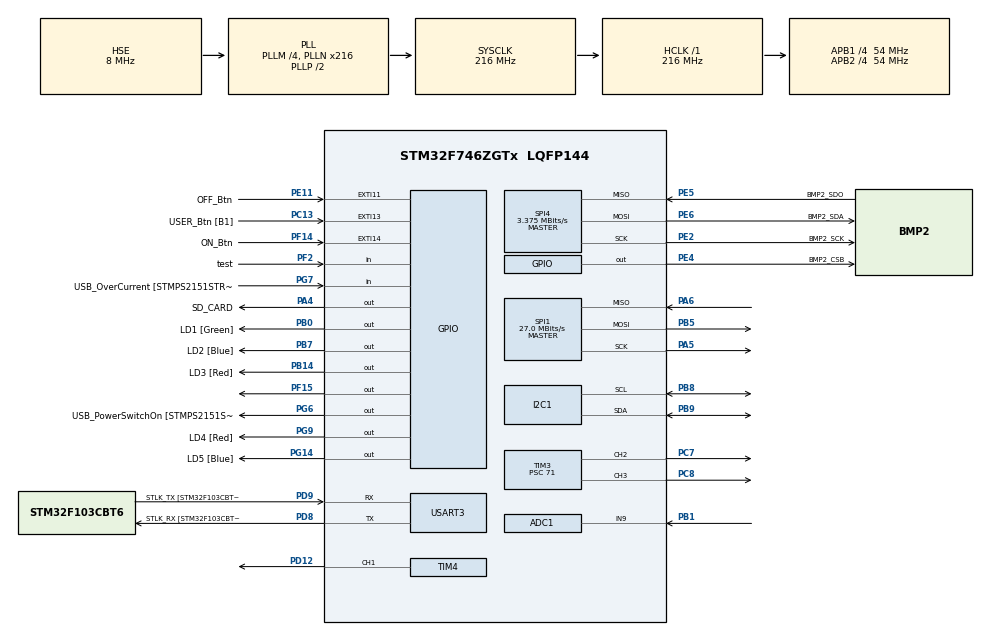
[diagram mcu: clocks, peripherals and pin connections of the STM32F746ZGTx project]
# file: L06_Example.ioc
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ADC1.Channel-0\#ChannelRegularConversion=ADC_CHANNEL_9
ADC1.ContinuousConvMode=DISABLE
ADC1.NbrOfConversionFlag=1
ADC1.Rank-0\#ChannelRegularConversion=1
ADC1.SamplingTime-0\#ChannelRegularConversion=ADC_SAMPLETIME_3CYCLES
ADC1.master=1
Dma.ADC1.0.Direction=DMA_PERIPH_TO_MEMORY
Dma.ADC1.0.FIFOMode=DMA_FIFOMODE_DISABLE
Dma.ADC1.0.Instance=DMA2_Stream0
Dma.ADC1.0.MemDataAlignment=DMA_MDATAALIGN_HALFWORD
Dma.ADC1.0.MemInc=DMA_MINC_ENABLE
Dma.ADC1.0.Mode=DMA_CIRCULAR
Dma.ADC1.0.PeriphDataAlignment=DMA_PDATAALIGN_HALFWORD
Dma.ADC1.0.PeriphInc=DMA_PINC_DISABLE
Dma.ADC1.0.Priority=DMA_PRIORITY_LOW
Dma.Request0=ADC1
FATFS._MAX_SS=4096
FATFS._USE_LFN=1
I2C1.Timing=0x20404768
Mcu.Family=STM32F7
Mcu.Name=STM32F746ZGTx
Mcu.Package=LQFP144
NVIC.ADC_IRQn=true\:0\:0\:false\:false\:true\:true\:true\:true
NVIC.DMA2_Stream0_IRQn=true\:0\:0\:false\:false\:true\:false\:true\:true
NVIC.PriorityGroup=NVIC_PRIORITYGROUP_4
NVIC.TIM2_IRQn=true\:0\:0\:false\:false\:true\:true\:true\:true
NVIC.TIM3_IRQn=true\:0\:0\:false\:false\:true\:true\:true\:true
NVIC.TIM4_IRQn=true\:0\:0\:false\:false\:true\:true\:true\:true
NVIC.TIM7_IRQn=true\:0\:0\:false\:false\:true\:true\:true\:true
NVIC.USART3_IRQn=true\:0\:0\:false\:false\:true\:true\:true\:true
PA1.GPIO_Label=RMII_REF_CLK [LAN8742A-CZ-TR_REFCLK0]
PA1.Signal=ETH_REF_CLK
PA10.GPIO_Label=USB_ID
PA10.Signal=USB_OTG_FS_ID
PA11.GPIO_Label=USB_DM
PA11.Signal=USB_OTG_FS_DM
PA12.GPIO_Label=USB_DP
PA12.Signal=USB_OTG_FS_DP
PA13.GPIO_Label=TMS
PA13.Mode=Serial_Wire
PA13.Signal=SYS_JTMS-SWDIO
PA14.GPIO_Label=TCK
PA14.Mode=Serial_Wire
PA14.Signal=SYS_JTCK-SWCLK
PA2.GPIO_Label=RMII_MDIO [LAN8742A-CZ-TR_MDIO]
PA2.Signal=ETH_MDIO
PA4.GPIO_Label=SD_CARD
PA4.GPIO_Speed=GPIO_SPEED_FREQ_MEDIUM
PA4.PinState=GPIO_PIN_SET
PA4.Signal=GPIO_Output
PA5.Mode=Full_Duplex_Master
PA5.Signal=SPI1_SCK
PA6.Mode=Full_Duplex_Master
PA6.Signal=SPI1_MISO
PA7.GPIO_Label=RMII_CRS_DV [LAN8742A-CZ-TR_CRS_DV]
PA7.Signal=ETH_CRS_DV
PA8.GPIO_Label=USB_SOF [TP1]
PA8.Signal=USB_OTG_FS_SOF
PA9.GPIO_Label=USB_VBUS
PA9.Signal=USB_OTG_FS_VBUS
PB0.GPIO_Label=LD1 [Green]
PB0.Signal=GPIO_Output
PB1.Signal=ADCx_IN9
PB13.GPIO_Label=RMII_TXD1 [LAN8742A-CZ-TR_TXD1]
PB13.Signal=ETH_TXD1
PB14.GPIO_Label=LD3 [Red]
PB14.Signal=GPIO_Output
PB3.GPIO_Label=SW0
PB3.Signal=SYS_JTDO-SWO
PB5.Mode=Full_Duplex_Master
PB5.Signal=SPI1_MOSI
PB7.GPIO_Label=LD2 [Blue]
PB7.Signal=GPIO_Output
PB8.Mode=I2C
PB8.Signal=I2C1_SCL
PB9.Mode=I2C
PB9.Signal=I2C1_SDA
PC1.GPIO_Label=RMII_MDC [LAN8742A-CZ-TR_MDC]
PC1.Signal=ETH_MDC
PC13.GPIO_Label=USER_Btn [B1]
PC13.Signal=GPXTI13
PC14/OSC32_IN.Mode=LSE-External-Oscillator
PC14/OSC32_IN.Signal=RCC_OSC32_IN
PC15/OSC32_OUT.Mode=LSE-External-Oscillator
PC15/OSC32_OUT.Signal=RCC_OSC32_OUT
PC4.GPIO_Label=RMII_RXD0 [LAN8742A-CZ-TR_RXD0]
PC4.Signal=ETH_RXD0
PC5.GPIO_Label=RMII_RXD1 [LAN8742A-CZ-TR_RXD1]
PC5.Signal=ETH_RXD1
PC7.Signal=S_TIM3_CH2
PC8.Signal=S_TIM3_CH3
PD12.Signal=S_TIM4_CH1
PD8.GPIO_Label=STLK_RX [STM32F103CBT6_PA3]
PD8.GPIO_PuPd=GPIO_PULLUP
PD8.Mode=Asynchronous
PD8.Signal=USART3_TX
PD9.GPIO_Label=STLK_TX [STM32F103CBT6_PA2]
PD9.GPIO_PuPd=GPIO_PULLUP
PD9.Mode=Asynchronous
PD9.Signal=USART3_RX
PE11.GPIO_Label=OFF_Btn
PE11.GPIO_PuPd=GPIO_PULLDOWN
PE11.Signal=GPXTI11
PE2.GPIO_Label=BMP2_SCK
PE2.Mode=Full_Duplex_Master
PE2.Signal=SPI4_SCK
PE4.GPIO_Label=BMP2_CSB
PE4.GPIO_Speed=GPIO_SPEED_FREQ_VERY_HIGH
PE4.Signal=GPIO_Output
PE5.GPIO_Label=BMP2_SDO
PE5.Mode=Full_Duplex_Master
PE5.Signal=SPI4_MISO
PE6.GPIO_Label=BMP2_SDA
PE6.Mode=Full_Duplex_Master
PE6.Signal=SPI4_MOSI
PF14.GPIO_Label=ON_Btn
PF14.GPIO_ModeDefaultEXTI=GPIO_MODE_IT_FALLING
PF14.GPIO_PuPd=GPIO_PULLUP
PF14.Signal=GPXTI14
PF15.Signal=GPIO_Output
PF2.GPIO_Label=test
PF2.Signal=GPIO_Input
PG11.GPIO_Label=RMII_TX_EN [LAN8742A-CZ-TR_TXEN]
PG11.Signal=ETH_TX_EN
PG13.GPIO_Label=RMII_TXD0 [LAN8742A-CZ-TR_TXD0]
PG13.Signal=ETH_TXD0
PG14.GPIO_Label=LD5 [Blue]
PG14.Signal=GPIO_Output
PG6.GPIO_Label=USB_PowerSwitchOn [STMPS2151STR_EN]
PG6.Signal=GPIO_Output
PG7.GPIO_Label=USB_OverCurrent [STMPS2151STR_FAULT]
PG7.Signal=GPIO_Input
PG9.GPIO_Label=LD4 [Red]
PG9.Signal=GPIO_Output
PH0/OSC_IN.GPIO_Label=MCO [STM32F103CBT6_PA8]
PH0/OSC_IN.Mode=HSE-External-Clock-Source
PH0/OSC_IN.Signal=RCC_OSC_IN
PH1/OSC_OUT.Mode=HSE-External-Clock-Source
PH1/OSC_OUT.Signal=RCC_OSC_OUT
ProjectManager.HeapSize=0x200
ProjectManager.StackSize=0x400
ProjectManager.TargetToolchain=STM32CubeIDE
RCC.48MHZClocksFreq_Value=24000000
RCC.AHBFreq_Value=216000000
RCC.APB1CLKDivider=RCC_HCLK_DIV4
RCC.APB1Freq_Value=54000000
RCC.APB1TimFreq_Value=108000000
RCC.APB2CLKDivider=RCC_HCLK_DIV4
RCC.APB2Freq_Value=54000000
RCC.APB2TimFreq_Value=108000000
RCC.CortexFreq_Value=216000000
RCC.HCLKFreq_Value=216000000
RCC.HSE_VALUE=8000000
RCC.HSI_VALUE=16000000
RCC.PLLM=4
RCC.PLLMUL=RCC_PLL_MUL9
RCC.PLLN=216
RCC.PLLQ=3
RCC.PLLSourceVirtual=RCC_PLLSOURCE_HSE
RCC.PRESCALERUSB=RCC_USBCLKSOURCE_PLL_DIV1_5
RCC.SYSCLKFreq_VALUE=216000000
RCC.SYSCLKSource=RCC_SYSCLKSOURCE_PLLCLK
RCC.SYSCLKSourceVirtual=RCC_SYSCLKSOURCE_PLLCLK
RCC.USBFreq_Value=144000000
RCC.VCOOutputFreq_Value=432000000
SH.ADCx_IN9.0=ADC1_IN9,IN9
SH.S_TIM3_CH2.0=TIM3_CH2,PWM Generation2 CH2
SH.S_TIM3_CH3.0=TIM3_CH3,PWM Generation3 CH3
SH.S_TIM4_CH1.0=TIM4_CH1,PWM Generation1 CH1
SPI1.CalculateBaudRate=27.0 MBits/s
SPI1.DataSize=SPI_DATASIZE_8BIT
SPI1.Direction=SPI_DIRECTION_2LINES
SPI1.Mode=SPI_MODE_MASTER
SPI1.VirtualType=VM_MASTER
SPI4.BaudRatePrescaler=SPI_BAUDRATEPRESCALER_16
SPI4.CLKPhase=SPI_PHASE_2EDGE
SPI4.CLKPolarity=SPI_POLARITY_HIGH
SPI4.CalculateBaudRate=3.375 MBits/s
SPI4.DataSize=SPI_DATASIZE_8BIT
SPI4.Direction=SPI_DIRECTION_2LINES
SPI4.Mode=SPI_MODE_MASTER
SPI4.VirtualType=VM_MASTER
TIM2.Period=24999
TIM2.Prescaler=1079
TIM3.Channel-PWM\ Generation2\ CH2=TIM_CHANNEL_2
TIM3.Channel-PWM\ Generation3\ CH3=TIM_CHANNEL_3
TIM3.Period=999
TIM3.Prescaler=71
TIM3.Pulse-PWM\ Generation3\ CH3=500
TIM4.Channel-PWM\ Generation1\ CH1=TIM_CHANNEL_1
TIM4.Period=999
TIM4.Prescaler=107
TIM7.Period=9999
TIM7.Prescaler=10799
USART3.VirtualMode-Asynchronous=VM_ASYNC
VP_FATFS_VS_Generic.Mode=User_defined
VP_TIM2_VS_ClockSourceINT.Mode=Internal
VP_TIM3_VS_ClockSourceINT.Mode=Internal
VP_TIM4_VS_ClockSourceINT.Mode=Internal
VP_TIM7_VS_ClockSourceINT.Mode=Enable_Timer
board=NUCLEO-F746ZG

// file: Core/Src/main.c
/* USER CODE BEGIN Header */
/**
  ******************************************************************************
  * @file           : main.c
  * @brief          : Main program body
  ******************************************************************************
  * @attention
  *
  * Copyright (c) 2023 STMicroelectronics.
  * All rights reserved.
  *
  * This software is licensed under terms that can be found in the LICENSE file
  * in the root directory of this software component.
  * If no LICENSE file comes with this software, it is provided AS-IS.
  *
  ******************************************************************************
  */
/* USER CODE END Header */
#include "main.h"
#include "adc.h"
#include "dma.h"
#include "fatfs.h"
#include "i2c.h"
#include "spi.h"
#include "tim.h"
#include "usart.h"
#include "gpio.h"

/* USER CODE BEGIN Includes */
#include <stdio.h>
#include "bmp2_config.h"
#include "pid_regulator.h"
#include "lcd_i2c.h"
#include <stdbool.h>
#include "fatfs_sd.h"
#include <string.h>

/* USER CODE END Includes */

/* USER CODE BEGIN PTD */
//float duty=0;

/* USER CODE END PTD */

/* USER CODE BEGIN PD */

//odczyt z karty microsd
FATFS fs;
FATFS *pfs;
FIL fil;
FRESULT fres;
DWORD fre_clust;
uint32_t totalSpace, freeSpace;
char bufffer[100];
int time_counter=-1;

/* USER CODE END PD */

/* USER CODE BEGIN PV */
double temp = 0.0f;     // [degC]
unsigned int temp_int;	// [mdegC]
double press = 0.0f;    // [hPa]
unsigned int press_int; // [Pa]
char word[]="000";
unsigned int zadane=0;
unsigned int zadane_rezystora=0;
unsigned int zadane_wiatraka=0;
float current_temp=0;
float fanControlTest=-1.0;  //tymczasowa zmienna pomocnicza do weryfikacji poprawnosci dzialania PID
float fanControlTestDriven=-1.0;
unsigned int zadane_obiektu = 27000;
unsigned int powitanie = 1;
uint16_t readValue_potencjometr=0;
// wyświetlacz
struct lcd_disp disp;
unsigned int test = 0;
volatile uint8_t sd_card_operation_flag = 0;
int value;
/* USER CODE END PV */

void SystemClock_Config(void);

/* USER CODE BEGIN 0 */
/**
  * @brief  Period elapsed callback in non-blocking mode
  * @param  htim TIM handle
  * @retval None
  */
pid_t2 pid1={.param.Kp=1.2,.param.Ki=0.002, .param.Kd=0,.param.dt=1.0, .previous_error=0, .previous_integral=0};
void HAL_TIM_PeriodElapsedCallback(TIM_HandleTypeDef *htim)
{
	static unsigned int cnt = 0;
	    if(htim == &htim2)
	    {
	        cnt++;
	        BMP2_ReadData(&bmp2dev, NULL, &temp); //odczyt temperatury z czujnika

	        temp_int = 1000*temp;

	        if(cnt == 4)
	        {
	            cnt = 0;
	            uint8_t tx_buffer[128];
	            int tx_msg_len = sprintf((char*)tx_buffer, "%d\r\n",
	                                     temp_int / 1000);

	            HAL_UART_Transmit(&huart3, tx_buffer, tx_msg_len, HAL_MAX_DELAY);

	            sd_card_operation_flag = 1;
	        }
  }
  //pid
  if(htim == &htim7){

  		 current_temp = temp_int;
  	}else{
  		float pwm_duty_f= (999.0*calculate_discrete_pid(&pid1,zadane_obiektu,current_temp));
  		fanControlTest=pwm_duty_f;
  		uint16_t pwm_duty=0;
  		//saturacja
  		if(pwm_duty_f<0)pwm_duty=0;else
  		if(pwm_duty_f>999.0)pwm_duty=999;else
  			pwm_duty=(uint16_t)pwm_duty_f;
  		fanControlTestDriven = pwm_duty;

  		if(temp_int -600 > zadane_obiektu) __HAL_TIM_SET_COMPARE(&htim3,TIM_CHANNEL_2, 700);
  		if(temp_int -200 < zadane_obiektu)__HAL_TIM_SET_COMPARE(&htim3,TIM_CHANNEL_2, 0);

  		__HAL_TIM_SET_COMPARE(&htim3,TIM_CHANNEL_3,pwm_duty);

  	}
}

void wypelnienie1(uint16_t duty)
{
	duty = duty*10;
	zadane_rezystora=duty;
	//__HAL_TIM_SET_COMPARE(&htim3, TIM_CHANNEL_3, duty);
}

void wypelnienie2(uint16_t duty)
{
	duty = duty*10;
	zadane_wiatraka=duty;
	//__HAL_TIM_SET_COMPARE(&htim3, TIM_CHANNEL_2, duty);
}

void HAL_UART_RxCpltCallback(UART_HandleTypeDef *huart) {
	uint8_t fill=0;

	if(word[0] == 'r')
	{
		fill = ((word[1] - '0') * 10 + (word[2] - '0'));
		wypelnienie1(fill);
	}

	if(word[0] == 'w')
	{
		fill = ((word[1] - '0') * 10 + (word[2] - '0'));
		wypelnienie2(fill);
	}
	HAL_UART_Receive_IT(&huart3, word, 3);
}

void display_function()
{
	if(powitanie)
	{
		sprintf((char*)disp.f_line, "Dzie%c dobry %c", '\x4', '\x5');
		sprintf((char*)disp.s_line, "smacznej kawusi");
		lcd_display(&disp);
		HAL_Delay(1000);
		powitanie = 0;
	}
	else
	{
		sprintf((char*)disp.f_line, "T. akt.:%d.%02d%cC", temp_int / 1000, temp_int % 1000, '\x7');
		sprintf((char*)disp.s_line, "T. zad.:%d.%02d%cC", zadane_obiektu / 1000, zadane_obiektu % 1000, '\x8');
		lcd_display(&disp);
	}

	HAL_Delay(2000);

}

/* USER CODE END 0 */

int main(void)
{

  /* MCU Configuration--------------------------------------------------------*/

  /* Reset of all peripherals, Initializes the Flash interface and the Systick. */
  HAL_Init();

  /* Configure the system clock */
  SystemClock_Config();

  /* Initialize all configured peripherals */
  MX_GPIO_Init();
  MX_DMA_Init();
  MX_SPI4_Init();
  MX_TIM2_Init();
  MX_TIM4_Init();
  MX_TIM3_Init();
  MX_TIM7_Init();
  MX_I2C1_Init();
  MX_USART3_UART_Init();
  MX_ADC1_Init();
  MX_SPI1_Init();
  MX_FATFS_Init();
  /* USER CODE BEGIN 2 */
  BMP2_Init(&bmp2dev);// inicjalizacja czujnika
  HAL_TIM_Base_Start_IT(&htim2);// uruchomienie timerow
  HAL_TIM_Base_Start_IT(&htim7);// uruchomienie timerow
  HAL_TIM_PWM_Start(&htim3, TIM_CHANNEL_3);
  HAL_TIM_PWM_Start(&htim3, TIM_CHANNEL_2);
  __HAL_TIM_SET_COMPARE(&htim3, TIM_CHANNEL_3, 0);
  __HAL_TIM_SET_COMPARE(&htim3, TIM_CHANNEL_2, 0);
  HAL_UART_Receive_IT(&huart3, word, 3);
//wyswietlacz
  disp.addr = (0x27 << 1);
  disp.bl = true;
  lcd_init(&disp);
  lcd_prog(&disp);
  //potencjometr
  //HAL_ADC_Start(&hadc1);
  /* USER CODE END 2 */

  /* Infinite loop */
  /* USER CODE BEGIN WHILE */
  while (1)
  {
	  HAL_ADC_Start(&hadc1);
	  display_function();
	  HAL_ADC_PollForConversion(&hadc1, 1000);
	  readValue_potencjometr = HAL_ADC_GetValue(&hadc1);
	  zadane_obiektu = readValue_potencjometr*5.36 +18000.0;
    /* USER CODE END WHILE */

    /* USER CODE BEGIN 3 */

	  if (sd_card_operation_flag) {
	         sd_card_operation_flag = 0; // Zeruj flagę
	         time_counter++; //czas probki

	         if (f_mount(&fs, "", 0) == FR_OK) {
	             if (f_open(&fil, "log-file.csv", FA_OPEN_APPEND | FA_WRITE) == FR_OK) { //dziala na istniejacym pliku
//	        	 if (f_open(&fil, "log-file.csv", FA_WRITE | FA_CREATE_ALWAYS) == FR_OK) { //czysci plik przed zadzialaniem
	                 char log_buffer[128];
	                 int log_length = sprintf(log_buffer, "%d,Temperature:,%u.%03u,DegC\r\n",
	                                          time_counter, temp_int / 1000, temp_int % 1000);

	                 UINT bytes_written;
	                 FRESULT write_result = f_write(&fil, log_buffer, log_length, &bytes_written);

	                 if (write_result == FR_OK && bytes_written == log_length) {
	                     // Dane zostały pomyślnie zapisane do pliku
	                     // Opcjonalnie, możesz dodać tutaj dodatkowy kod, np. logowanie sukcesu
	                	 value ++;
	                 } else {
	                     // Wystąpił błąd podczas zapisu
	                     // Opcjonalnie, możesz dodać tutaj kod obsługi błędów
	                	value = value *10;
	                 }

	                 f_close(&fil);
	             }
	             f_mount(NULL, "", 0);
	         }
	     }

  }
  /* USER CODE END 3 */
}

void SystemClock_Config(void)
{
  RCC_OscInitTypeDef RCC_OscInitStruct = {0};
  RCC_ClkInitTypeDef RCC_ClkInitStruct = {0};

  /** Configure LSE Drive Capability
  */
  HAL_PWR_EnableBkUpAccess();

  /** Configure the main internal regulator output voltage
  */
  __HAL_RCC_PWR_CLK_ENABLE();
  __HAL_PWR_VOLTAGESCALING_CONFIG(PWR_REGULATOR_VOLTAGE_SCALE1);

  /** Initializes the RCC Oscillators according to the specified parameters
  * in the RCC_OscInitTypeDef structure.
  */
  RCC_OscInitStruct.OscillatorType = RCC_OSCILLATORTYPE_HSE;
  RCC_OscInitStruct.HSEState = RCC_HSE_BYPASS;
  RCC_OscInitStruct.PLL.PLLState = RCC_PLL_ON;
  RCC_OscInitStruct.PLL.PLLSource = RCC_PLLSOURCE_HSE;
  RCC_OscInitStruct.PLL.PLLM = 4;
  RCC_OscInitStruct.PLL.PLLN = 216;
  RCC_OscInitStruct.PLL.PLLP = RCC_PLLP_DIV2;
  RCC_OscInitStruct.PLL.PLLQ = 3;
  if (HAL_RCC_OscConfig(&RCC_OscInitStruct) != HAL_OK)
  {
    Error_Handler();
  }

  /** Activate the Over-Drive mode
  */
  if (HAL_PWREx_EnableOverDrive() != HAL_OK)
  {
    Error_Handler();
  }

  /** Initializes the CPU, AHB and APB buses clocks
  */
  RCC_ClkInitStruct.ClockType = RCC_CLOCKTYPE_HCLK|RCC_CLOCKTYPE_SYSCLK
                              |RCC_CLOCKTYPE_PCLK1|RCC_CLOCKTYPE_PCLK2;
  RCC_ClkInitStruct.SYSCLKSource = RCC_SYSCLKSOURCE_PLLCLK;
  RCC_ClkInitStruct.AHBCLKDivider = RCC_SYSCLK_DIV1;
  RCC_ClkInitStruct.APB1CLKDivider = RCC_HCLK_DIV4;
  RCC_ClkInitStruct.APB2CLKDivider = RCC_HCLK_DIV4;

  if (HAL_RCC_ClockConfig(&RCC_ClkInitStruct, FLASH_LATENCY_7) != HAL_OK)
  {
    Error_Handler();
  }
}

void Error_Handler(void)
{
  __disable_irq();
  while (1)
  {
  }
}
